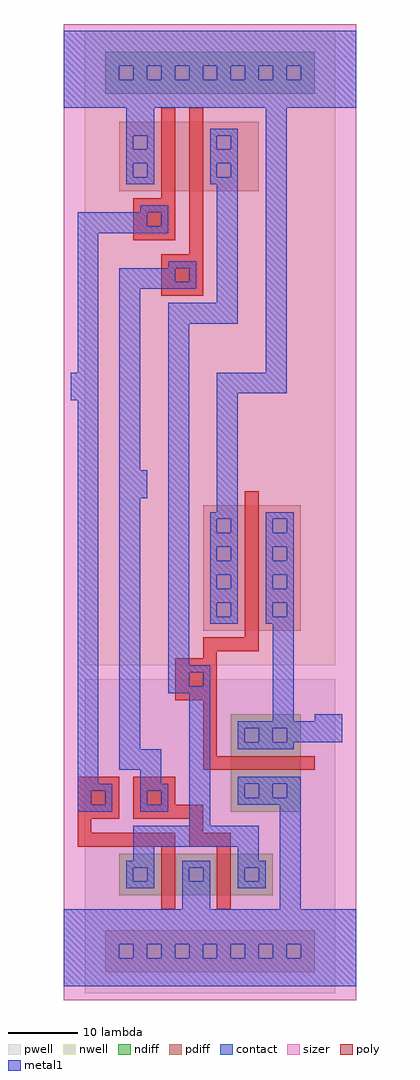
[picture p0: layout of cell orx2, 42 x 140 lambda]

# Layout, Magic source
magic
tech concept
<< sizer >>
rect 0 0 42 140
<< metal1 >>
rect 0 134 42 139
rect 0 132 8 134
rect 10 132 12 134
rect 14 132 16 134
rect 18 132 20 134
rect 22 132 24 134
rect 26 132 28 134
rect 30 132 32 134
rect 34 132 42 134
rect 0 128 42 132
rect 9 124 13 128
rect 29 90 32 128
rect 21 124 25 125
rect 9 122 10 124
rect 12 122 13 124
rect 21 122 22 124
rect 24 122 25 124
rect 9 120 13 122
rect 21 120 25 122
rect 9 118 10 120
rect 12 118 13 120
rect 21 118 22 120
rect 24 118 25 120
rect 9 117 13 118
rect 21 117 25 118
rect 22 100 25 117
rect 11 113 15 114
rect 2 111 12 113
rect 14 111 15 113
rect 2 110 15 111
rect 2 90 5 110
rect 15 105 19 106
rect 8 103 16 105
rect 18 103 19 105
rect 8 102 19 103
rect 8 76 11 102
rect 15 97 25 100
rect 15 48 18 97
rect 1 86 5 90
rect 22 87 32 90
rect 22 70 25 87
rect 2 31 5 86
rect 8 72 12 76
rect 8 36 11 72
rect 21 69 25 70
rect 29 69 33 70
rect 21 67 22 69
rect 24 67 25 69
rect 29 67 30 69
rect 32 67 33 69
rect 21 65 25 67
rect 29 65 33 67
rect 21 63 22 65
rect 24 63 25 65
rect 29 63 30 65
rect 32 63 33 65
rect 21 61 25 63
rect 29 61 33 63
rect 21 59 22 61
rect 24 59 25 61
rect 29 59 30 61
rect 32 59 33 61
rect 21 57 25 59
rect 29 57 33 59
rect 21 55 22 57
rect 24 55 25 57
rect 29 55 30 57
rect 32 55 33 57
rect 21 54 25 55
rect 29 54 33 55
rect 30 40 33 54
rect 15 47 21 48
rect 15 45 18 47
rect 20 45 21 47
rect 15 44 21 45
rect 18 25 21 44
rect 36 40 40 41
rect 25 39 40 40
rect 25 37 26 39
rect 28 37 30 39
rect 32 37 40 39
rect 25 36 33 37
rect 8 33 14 36
rect 11 31 14 33
rect 25 31 34 32
rect 2 30 7 31
rect 11 30 15 31
rect 25 29 26 31
rect 28 29 30 31
rect 32 29 34 31
rect 2 28 4 30
rect 6 28 7 30
rect 11 28 12 30
rect 14 28 15 30
rect 25 28 34 29
rect 2 27 7 28
rect 11 27 15 28
rect 31 13 34 28
rect 10 22 28 25
rect 10 20 13 22
rect 25 20 28 22
rect 9 19 13 20
rect 17 19 21 20
rect 25 19 29 20
rect 9 17 10 19
rect 12 17 13 19
rect 17 17 18 19
rect 20 17 21 19
rect 25 17 26 19
rect 28 17 29 19
rect 9 16 13 17
rect 17 13 21 17
rect 25 16 29 17
rect 0 8 42 13
rect 0 6 8 8
rect 10 6 12 8
rect 14 6 16 8
rect 18 6 20 8
rect 22 6 24 8
rect 26 6 28 8
rect 30 6 32 8
rect 34 6 42 8
rect 0 2 42 6
<< contact >>
rect 8 132 10 134
rect 12 132 14 134
rect 16 132 18 134
rect 20 132 22 134
rect 24 132 26 134
rect 28 132 30 134
rect 32 132 34 134
rect 10 122 12 124
rect 22 122 24 124
rect 10 118 12 120
rect 22 118 24 120
rect 12 111 14 113
rect 16 103 18 105
rect 22 67 24 69
rect 30 67 32 69
rect 22 63 24 65
rect 30 63 32 65
rect 22 59 24 61
rect 30 59 32 61
rect 22 55 24 57
rect 30 55 32 57
rect 18 45 20 47
rect 26 37 28 39
rect 30 37 32 39
rect 26 29 28 31
rect 30 29 32 31
rect 4 28 6 30
rect 12 28 14 30
rect 10 17 12 19
rect 18 17 20 19
rect 26 17 28 19
rect 8 6 10 8
rect 12 6 14 8
rect 16 6 18 8
rect 20 6 22 8
rect 24 6 26 8
rect 28 6 30 8
rect 32 6 34 8
<< poly >>
rect 14 115 16 128
rect 18 107 20 128
rect 10 109 16 115
rect 14 101 20 107
rect 26 52 28 73
rect 20 50 28 52
rect 20 49 22 50
rect 16 43 22 49
rect 20 35 22 43
rect 20 33 36 35
rect 2 26 8 32
rect 10 28 16 32
rect 10 26 20 28
rect 2 24 4 26
rect 18 24 20 26
rect 2 22 16 24
rect 18 22 24 24
rect 14 13 16 22
rect 22 13 24 22
<< ndiff >>
rect 6 130 36 136
rect 24 27 34 41
rect 8 15 30 21
<< pdiff >>
rect 8 116 28 126
rect 20 53 34 71
rect 6 4 36 10
<< nwell >>
rect 3 48 39 139
<< pwell >>
rect 3 1 39 46
<< end >>
